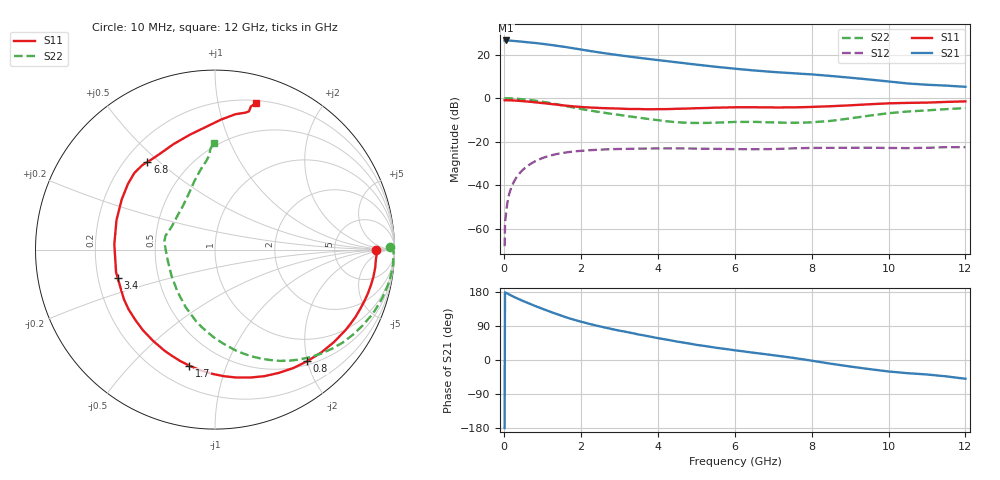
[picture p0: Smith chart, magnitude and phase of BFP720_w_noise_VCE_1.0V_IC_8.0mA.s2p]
! Infineon Technologies  Discrete & RF Semiconductors
! BFP720
! VCE =  1.0 V,  IC =  8.0 mA
! Common Emitter S-Parameters:  Aug 2012
# GHz  S  MA  R  50
!  f  S11  S21  S12  S22
! GHz  MAG  ANG  MAG  ANG  MAG  ANG  MAG  ANG
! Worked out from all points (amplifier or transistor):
!   105 points, 10 MHz to 12 GHz, reference 50 ohm
!   highest |S21| = 26.5 dB at 50 MHz (marker M1)
!   |S21| within 3 dB of that: start of sweep to 1.593 GHz
!   unconditionally stable (mu >= 1): 6.101 GHz to 11.86 GHz
!   at 300 MHz: K = 0.08, MSG = 31.6 dB, |S12| = -36.9 dB
!   at 3.6 GHz: K = 0.61, MSG = 20.7 dB, |S12| = -23.1 dB
!   at 12 GHz: K = 0.96, MSG = 13.9 dB, |S12| = -22.5 dB
!   lowest NFmin = 0.48 dB at 450 MHz
!   S11 on the Smith chart (normalised r, x): 10 MHz: 18, -1; 800 MHz: 0.56, -1.99; 1.7 GHz: 0.33, -0.75; 3.4 GHz: 0.28, -0.13; 6.8 GHz: 0.29, +0.46; 12 GHz: 0.22, +1.29
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0.01  0.8959 -0.2  20.88 -179.6  0.0004 -86.2  0.9774 1.0
0.02  0.9024 -1.2  20.93 178.7  0.0012 93.3  0.9948 -0.7
0.05  0.8983 -3.1  21.22 177.1  0.0024 91.0  0.9947 -2.2
0.25  0.8861 -16.0  20.7 166.7  0.012 80.6  0.9832 -11.7
0.4  0.8682 -25.5  20.12 159.8  0.0189 75.3  0.961 -18.6
0.6  0.8395 -37.9  19.32 151.1  0.0276 68.3  0.9238 -27.4
0.8  0.8065 -50.5  18.62 142.8  0.0355 61.5  0.8804 -36.0
1  0.7733 -62.7  17.71 134.9  0.0424 55.0  0.8283 -44.4
1.2  0.7394 -74.6  16.82 127.3  0.0482 49.0  0.7733 -52.3
1.4  0.7068 -86.1  15.87 120.1  0.053 43.4  0.7171 -59.8
1.7  0.662 -102.5  14.5 109.8  0.0583 36.1  0.6359 -70.1
2.1  0.6206 -120.3  12.7 98.5  0.0629 28.2  0.5468 -81.8
2.4  0.6025 -131.8  11.53 90.7  0.0653 23.3  0.4939 -90.0
2.7  0.5878 -141.9  10.54 83.9  0.067 19.2  0.45 -97.3
3.4  0.5647 -163.9  8.715 69.5  0.0693 11.2  0.3682 -114.5
4.1  0.5614 174.2  7.338 55.9  0.0703 4.8  0.3053 -135.1
5  0.5899 151.8  5.918 40.0  0.0698 -2.0  0.2702 -167.3
6.1  0.6195 135.4  4.677 24.3  0.0677 -6.6  0.2855 169.5
6.8  0.6164 127.7  4.139 15.3  0.0678 -7.6  0.2813 161.1
8.5  0.6556 102.2  3.244 -9.8  0.0725 -14.8  0.3019 126.3
10.5  0.7814 77.5  2.183 -34.8  0.0715 -22.5  0.4952 95.7
12  0.8466 74.4  1.828 -49.5  0.0752 -28.2  0.5942 90.8
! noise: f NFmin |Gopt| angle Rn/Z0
0.45  0.48  0.35  2  0.16
1.8  0.54  0.32  22  0.14
2.4  0.59  0.26  45  0.25
5.5  0.73  0.14  40  0.14
10  0.95  0.39  -84  0.22
